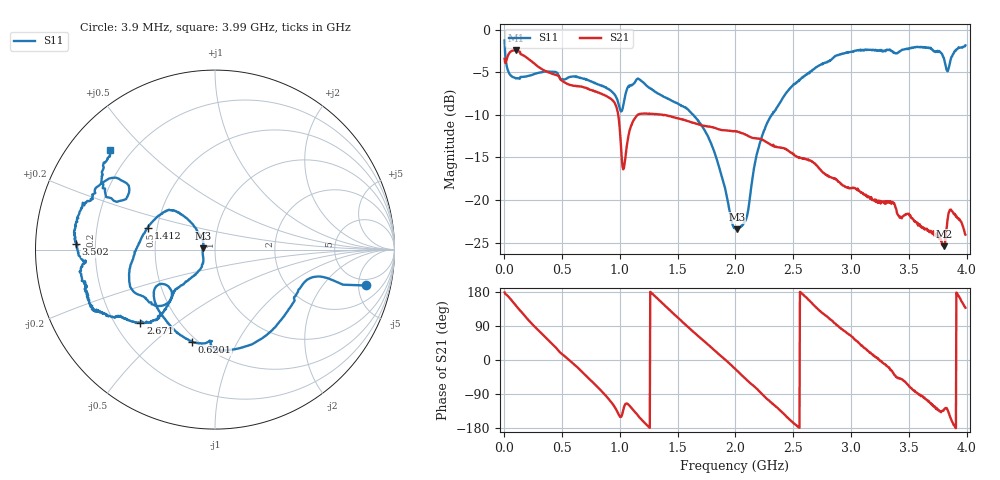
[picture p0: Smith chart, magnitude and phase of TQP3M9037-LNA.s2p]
# HZ S RI R 50
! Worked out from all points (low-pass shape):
!   1023 points, 3.9 MHz to 3.99 GHz, reference 50 ohm
!   highest |S21| = -2.43 dB at 101.4 MHz (marker M1); lowest = -25.4 dB at 3.803 GHz (marker M2)
!   |S21| within 3 dB of the highest: start of sweep to 468.6 MHz
!   lowest |S11| = -23.4 dB at 2.012 GHz (marker M3), VSWR 1.14, Z = 43.7 + j0.582 ohm
!   |S11| at or under -10 dB: 1.635 GHz to 2.314 GHz (678.5 MHz wide, 34.4 % of centre)
!   S12 and S22 are empty: the file has one direction only
!   S11 on the Smith chart (normalised r, x): 3.9 MHz: 3.89, -6.07; 620.1 MHz: 0.47, -0.67; 1.412 GHz: 0.44, +0.13; 2.671 GHz: 0.31, -0.37; 3.502 GHz: 0.13, +0.02; 3.99 GHz: 0.12, +0.39
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3900000  0.8391 -0.1999  -0.6727 0.0195  0 0  0 0
1.014e8  0.4657 -0.2222  -0.6085 0.4487  0 0  0 0
2.223e8  0.3707 -0.3886  -0.1282 0.6497  0 0  0 0
3.9e8  0.135 -0.5498  0.3579 0.4292  0 0  0 0
6.201e8  -0.1267 -0.514  0.4499 -0.1244  0 0  0 0
6.708e8  -0.1741 -0.4884  0.3979 -0.2337  0 0  0 0
9.516e8  -0.3418 -0.2422  -0.1981 -0.318  0 0  0 0
1.0335e9  -0.2455 -0.2757  -0.0935 -0.1204  0 0  0 0
1.1388e9  -0.4346 -0.2473  -0.2332 -0.1991  0 0  0 0
1.3338e9  -0.4167 0.0491  -0.2986 0.1089  0 0  0 0
1.4118e9  -0.3745 0.1228  -0.2315 0.2106  0 0  0 0
1.7511e9  -0.1657 0.1798  0.1945 0.1883  0 0  0 0
1.9968e9  -0.0666 0.0151  0.2342 -0.0974  0 0  0 0
2.0124e9  -0.0671 0.00662  0.2233 -0.1174  0 0  0 0
2.2776e9  -0.1972 -0.2067  -0.0509 -0.2108  0 0  0 0
2.6637e9  -0.4103 -0.3991  -0.1445 0.0843  0 0  0 0
2.6715e9  -0.4158 -0.4065  -0.1395 0.0915  0 0  0 0
3.3267e9  -0.7454 -0.1361  0.0906 -0.0333  0 0  0 0
3.5022e9  -0.7738 0.0306  0.0306 -0.0772  0 0  0 0
3.8025e9  -0.5539 0.4013  -0.0358 -0.0399  0 0  0 0
3.861e9  -0.5939 0.2903  -0.0777 -0.0404  0 0  0 0
3.9897e9  -0.5856 0.5555  -0.0464 0.042  0 0  0 0
